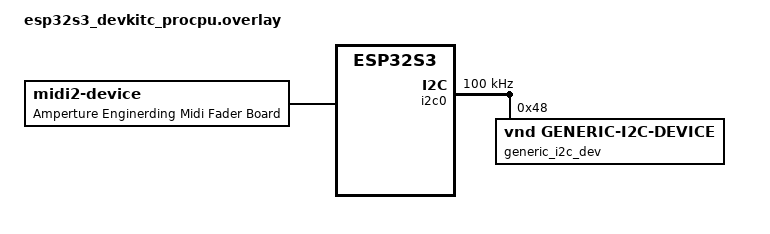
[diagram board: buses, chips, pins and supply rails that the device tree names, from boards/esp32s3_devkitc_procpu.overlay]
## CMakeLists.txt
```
cmake_minimum_required(VERSION 3.22.0)

find_package(Zephyr REQUIRED HINTS $ENV{ZEPHYR_BASE})

project(mideej)

target_sources(
  app
  PRIVATE
  src/main.c
  src/usb_setup.c
  src/midi_setup.c
  src/adc_setup.c
)

target_include_directories(app PRIVATE
  inc
  src
)
```

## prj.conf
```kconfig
CONFIG_USB_DEVICE_STACK_NEXT=y
# CONFIG_USBD_CDC_ACM_CLASS=y
# CONFIG_CDC_ACM_SERIAL_INITIALIZE_AT_BOOT=n
CONFIG_USBD_MIDI2_CLASS=y
CONFIG_I2C=y
CONFIG_MULTITHREADING=y

# Thread monitoring settings
# CONFIG_THREAD_NAME=y
# CONFIG_THREAD_ANALYZER=y
# CONFIG_THREAD_ANALYZER_AUTO=y
# CONFIG_THREAD_ANALYZER_AUTO_INTERVAL=5
```

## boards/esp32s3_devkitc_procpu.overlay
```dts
/ {
  mideej_midi: usb_midi {
    compatible = "zephyr,midi2-device";
    status = "okay";
    #address-cells = <1>;
    #size-cells = <1>;
    label = "Amperture Enginerding Midi Fader Board";
    midi_in_out@0{
      reg = <0 1>;
      protocol = "midi1-up-to-128b";
      label = "MIDI-IN-OUT";
    };
  };
};

// Add custom pins to "pinctrl" node
&pinctrl {
  //i2c bus 0 config
  i2c0_custom_pins: i2c0_custom_pins{
    group1 {
      pinmux = <I2C0_SDA_GPIO2>, <I2C0_SCL_GPIO1>;
      bias-pull-up;
      drive-open-drain;
      output-high;
    };
  };
};

&i2c0 {
    status = "okay";
    generic_i2c_dev: generic_dev@48 {
        compatible = "vnd,generic-i2c-device";
        reg = <0x48>;
    };
    clock-frequency = <I2C_BITRATE_STANDARD>;
    pinctrl-0 = <&i2c0_custom_pins>;
    pinctrl-names = "default";
};
```

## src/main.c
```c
#include <stdint.h>
#include <zephyr/sys/printk.h>

int main(void) {
  printk("Mideej is running...");
  return 0;
}
```

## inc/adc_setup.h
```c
#ifndef ADC_SETUP_H
#define ADC_SETUP_H
#include <stdint.h>

uint8_t adc_setup();
uint8_t adc_se_read_channel(uint8_t ch, uint8_t *p_value);
extern struct k_msgq adc_read_msgq;

#endif // ADC_SETUP_H
```

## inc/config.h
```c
#ifndef CONFIG_H
#define CONFIG_H

#define ADC_READ_TASK_STACK_SIZE 1024
#define ADC_READ_TASK_PRIORITY 3
#define ADC_PARSE_TASK_STACK_SIZE 1024
#define ADC_PARSE_TASK_PRIORITY 2
#define ADC_CHANNELS_USED 2, 3
#define ADC_DEADBAND 1

#define MIDI_SEND_TASK_STACK_SIZE 1024
#define MIDI_SEND_TASK_PRIORITY 1
#define MIDI_CONTROLLER 7

#define ARRAY_SIZE(arr) (sizeof(arr) / sizeof((arr)[0]))

#endif // CONFIG_H
```

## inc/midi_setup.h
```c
#ifndef MIDI_SETUP_H
#define MIDI_SETUP_H
#include "zephyr/kernel.h"
#include <stdint.h>
#include <zephyr/usb/class/usbd_midi2.h>

struct midi_ump construct_packet(uint8_t type, uint8_t group, uint8_t command,
                                 uint8_t channel, uint8_t controller,
                                 uint8_t value);

extern struct k_msgq midi_send_msgq;

const struct device *midi_setup(void);

struct midi_send_value {
  // Intended to be valid MIDI Channel
  uint8_t midi_channel;

  // Intended to be valid 7-bit MIDI CC data
  uint8_t midi_value;
};

#endif // MIDI_SETUP_H
```

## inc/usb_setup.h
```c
#ifndef USB_SETUP_H
#define USB_SETUP_H

#include <stdint.h>
#include <zephyr/kernel.h>

// Public Functions
uint8_t usb_setup(void);

extern struct k_mutex usb_mutex;

#endif // USB_SETUP_H
```

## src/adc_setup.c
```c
#include "adc_setup.h"
#include "config.h"
#include "midi_setup.h"
#include <stdint.h>
#include <stdlib.h>
#include <zephyr/drivers/i2c.h>
#include <zephyr/kernel.h>
#include <zephyr/sys/printk.h>

// https://www.ti.com/lit/ds/symlink/ads7830.pdf
// Table 2, page 14

// Currently using the ADS7830 in single-ended mode. Channel selection
// is a little wonky, but this rearranges the bits as necessary.
// Run it with an OR operation to bitmask against a command byte.
#define ADS7830_SE_CHANNEL_SELECT(x) (uint8_t)(((x & 1) << 2 | (x >> 1)) << 4)

#define ADS7830_SINGLE_ENDED_MODE (uint8_t)(1u << 7)
#define ADS7830_POWER_DOWN_INTREF_AND_ADC 0
#define ADS7830_POWER_DOWN_INTREF (uint8_t)(1u << 2)
#define ADS7830_POWER_DOWN_ADC (uint8_t)(2u << 2)

K_MUTEX_DEFINE(i2c0_mutex);

// Set up I2C device.
static const struct i2c_dt_spec ads7830 =
    I2C_DT_SPEC_GET(DT_NODELABEL(generic_i2c_dev));

uint8_t adc_se_read_channel(uint8_t ch, uint8_t *p_value) {
  uint8_t command_byte = ADS7830_SE_CHANNEL_SELECT(ch) |
                         ADS7830_SINGLE_ENDED_MODE |
                         ADS7830_POWER_DOWN_INTREF_AND_ADC;

  if (i2c_write_read_dt(&ads7830, &command_byte, 1, p_value, 1) != 0) {
    return 1;
  }
  return 0;
}

// Deliberately overengineered for now. Mutex technically not necessary since
// this task is the only one handling the ADC, but using the mutex anyway
// as a learning experience.
uint8_t adc_channels_list[] = {ADC_CHANNELS_USED};
struct adc_read_value {
  uint8_t index;
  uint8_t channel;
  uint8_t value;
};
K_MSGQ_DEFINE(adc_read_msgq, sizeof(struct adc_read_value), 64, 1);
void adc_read_thread(void *p1, void *p2, void *p3) {
  printk("ADC Read Thread Initializing\r\n");
  struct adc_read_value tx_packet;

  if (adc_setup() != 0) {
    printk("Failure to initialize ADC\r\n");
    return;
  }

  // Make sure the adc is set up
  while (1) {
    if (k_mutex_lock(&i2c0_mutex, K_FOREVER) == 0) {
      for (uint8_t i = 0; i < ARRAY_SIZE(adc_channels_list); i++) {
        tx_packet.index = i;
        tx_packet.channel = adc_channels_list[i];
        adc_se_read_channel(tx_packet.channel, &tx_packet.value);
        int ret = k_msgq_put(&adc_read_msgq, &tx_packet, K_NO_WAIT);
        if (ret != 0) {
          printk("ADC Raw Queue full.\r\n");
        }
      }
      k_mutex_unlock(&i2c0_mutex);
    }
    // K_NO_WAIT: if queue is full, skip or handle immediately
    // May not be needed, if the midi parse thread blocks and is higher
    // priority.
    k_sleep(K_MSEC(2));
  }
}
K_THREAD_DEFINE(adc_read_thread_id, ADC_READ_TASK_STACK_SIZE, adc_read_thread,
                NULL, NULL, NULL, ADC_READ_TASK_PRIORITY, 0, 0);

struct midi_channel_value {
  uint8_t channel;
  uint8_t value;
};
void adc_parse_thread(void *p1, void *p2, void *p3) {
  printk("ADC Parse Thread Initializing\r\n");
  struct adc_read_value rx_packet;
  static struct midi_send_value tx_packet;
  static struct midi_send_value last_sent[ARRAY_SIZE(adc_channels_list)];

  struct midi_channel_value held_values[ARRAY_SIZE(adc_channels_list)];

  // Initialize the last_sent_midi_values to 200
  for (uint8_t i = 0; i < ARRAY_SIZE(adc_channels_list); i++) {
    // valid MIDI CC 1.0 values only go from 0-127, if we set initial values
    // to something outside that range, we can guarantee the first
    // value read on startup gets sent. Hence initializing to 200

    held_values[i].channel = adc_channels_list[i];
    held_values[i].value = 200;
    last_sent[i].midi_channel = adc_channels_list[i];
    last_sent[i].midi_value = 200;
  }

  while (1) {
    // Attempt to clean up and send current values if the queue was full on
    // first send
    for (uint8_t i = 0; i < ARRAY_SIZE(adc_channels_list); i++) {
      if ((held_values[i].value >> 1) != last_sent[i].midi_value) {
        tx_packet.midi_value = held_values[i].value >> 1;
        tx_packet.midi_channel = held_values[i].channel;
        int ret = k_msgq_put(&midi_send_msgq, &tx_packet, K_NO_WAIT);
        if (ret == 0) {
          last_sent[i].midi_channel = tx_packet.midi_channel;
          last_sent[i].midi_value = tx_packet.midi_value;
        } else {
          printk("MIDI Send Packet Queue _STILL_ full.\r\n");
        }
      }
    };

    int ret = k_msgq_get(&adc_read_msgq, &rx_packet, K_FOREVER);
    if (ret == 0) {

      uint8_t current_val = held_values[rx_packet.index].value;

      // Apply a Deadband and Hysteresis
      if (rx_packet.value > current_val + ADC_DEADBAND) {
        held_values[rx_packet.index].value = rx_packet.value - ADC_DEADBAND;
        printk("New Value for Channel %d: %d\r\n", rx_packet.channel,
               rx_packet.value - ADC_DEADBAND);
      } else if (rx_packet.value < current_val - ADC_DEADBAND) {
        held_values[rx_packet.index].value = rx_packet.value + ADC_DEADBAND;
        printk("New Value for Channel %d: %d\r\n", rx_packet.channel,
               rx_packet.value + ADC_DEADBAND);
      }

      if ((held_values[rx_packet.index].value >> 1) !=
          last_sent[rx_packet.index].midi_value) {
        // Prepare to send TX Packet to USB thread.
        tx_packet.midi_value = held_values[rx_packet.index].value >> 1;
        tx_packet.midi_channel = held_values[rx_packet.index].channel;

        // Send TX thread to MIDI packet. If successful, record last_sent
        int ret = k_msgq_put(&midi_send_msgq, &tx_packet, K_NO_WAIT);
        if (ret == 0) {
          last_sent[rx_packet.index].midi_channel = tx_packet.midi_channel;
          last_sent[rx_packet.index].midi_value = tx_packet.midi_value;
        } else {
          printk("MIDI Send Packet Queue full.\r\n");
        }
      }
    };
    // May not be needed, if the midi parse thread blocks and is higher
    // priority. k_sleep(K_MSEC(1));
  }
}
K_THREAD_DEFINE(adc_parse_thread_id, ADC_PARSE_TASK_STACK_SIZE,
                adc_parse_thread, NULL, NULL, NULL, ADC_PARSE_TASK_PRIORITY, 0,
                0);

uint8_t adc_setup() {
  // Verify the hardware bus is ready
  printk("initializing adc\r\n");
  if (!i2c_is_ready_dt(&ads7830)) {
    printk("ADC is not ready\r\n");
    return 1;
  }
  return 0;
}
```

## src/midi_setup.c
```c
#include "midi_setup.h"
#include "config.h"
#include "syscalls/device.h"
#include "usb_setup.h"
#include <zephyr/kernel.h>
#include <zephyr/sys/printk.h>

struct midi_ump construct_packet(uint8_t type, uint8_t group, uint8_t command,
                                 uint8_t channel, uint8_t controller,
                                 uint8_t value) {
  struct midi_ump packet;
  packet.data[0] = (type << 28) | (group << 24) | (command << 20) |
                   (channel << 16) | (controller << 8) | (value);
  return packet;
}

const struct device *midi_setup(void) {

  // We need to grab the USB device so we can send packets thru it.
  const struct device *mideej_midi = DEVICE_DT_GET(DT_NODELABEL(mideej_midi));

  int midi_err = device_is_ready(mideej_midi);
  if (!midi_err) {
    printk("Device was not ready. Aboring.\r\n");
    return NULL;
  }
  return mideej_midi;
}

// The semaphore is also extremely overengineered here deliberately. It is not
// strictly needed, but used as an example of how a semaphore might be used
// to process new MIDI signals being ready to go out as sending out a MIDI CC
// signal is an "event".
// K_SEM_DEFINE(midi_send_sem, 0, 32);

// In reality the Message Queue is really all that's necessary here, and in fact
// the message queue acts as a semaphore with a data payload. Again, deliberate
// overengineering as a learning experience.
K_MSGQ_DEFINE(midi_send_msgq, sizeof(struct midi_send_value), 64, 1);

void midi_send_thread(void *p1, void *p2, void *p3) {
  printk("MIDI thread initializing\r\n");
  struct midi_send_value midi_rx_packet;

  // Initialize the USB Device here, since there's not another task to take
  // care of it. This will likely be moved or taken care of elsewhere if a
  // better init process is thought of.
  if (usb_setup() != 0) {
    printk("Something went wrong with USB setup!\r\n");
  }

  const struct device *mideej_midi = midi_setup();
  printk("MIDI device initialized\r\n");

  while (1) {
    printk("Attempting to pull from the MIDI msgq.\r\n");
    int ret = k_msgq_get(&midi_send_msgq, &midi_rx_packet, K_FOREVER);
    if (ret == 0) {
      printk("Valid message found, sending over USB now.\r\n");
      struct midi_ump ump_packet =
          construct_packet(2, 0, 0xB, midi_rx_packet.midi_channel,
                           MIDI_CONTROLLER, midi_rx_packet.midi_value);
      if (k_mutex_lock(&usb_mutex, K_FOREVER) == 0) {
        int usbd_ret = usbd_midi_send(mideej_midi, ump_packet);
        if (usbd_ret != 0) {
          printk("USB MIDI packet unsuccessful\r\n");
        }
        k_mutex_unlock(&usb_mutex);
      }
    };
    // sleeping may not be needed
    // k_sleep(K_MSEC(1));
  }
}
K_THREAD_DEFINE(midi_send_thread_id, MIDI_SEND_TASK_STACK_SIZE,
                midi_send_thread, NULL, NULL, NULL, MIDI_SEND_TASK_PRIORITY, 0,
                0);
```

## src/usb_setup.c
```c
#include "usb_setup.h"
#include <zephyr/kernel.h>
#include <zephyr/sys/printk.h>
#include <zephyr/usb/usbd.h>

K_MUTEX_DEFINE(usb_mutex);

/* This line creates a usbd_context struct, no enumeration is happening as of
 * yet.
 *
 * `mideej_ctx` is the struct's name which will be used later to
 *   reference
 *
 * the second input is the actual binding, zephyr_udc0 is the devicetree label
 *   for usb_otg, note that we are getting the nodelabel from devicetree
 *
 * the last two are the VID and PID
 */
// TODO: Get my own VID and PID from pid.codes
USBD_DEVICE_DEFINE(mideej_ctx, DEVICE_DT_GET(DT_NODELABEL(zephyr_udc0)), 0x2fe3,
                   0x0001);

/* we're still not enumerating devices yet, but these lines define a few things
 * for the device.
 *
 * These are ways for the device to "describe" itself to the host machine
 *
 * the first line defines the language the device speaks, as in literal
 * human-spoken language, at the time of writing, the macro has no options
 * as the only language supported is US English
 *
 * the second line defines the manufacturer, which we're making up
 *
 * the third line defines the product name, which we're also making up
 *
 * the fourth line will be used later, and is describing the configuration
 * to the host
 */
USBD_DESC_LANG_DEFINE(mideej_desc_lang);
USBD_DESC_MANUFACTURER_DEFINE(mideej_desc_mfr, "Amperture Enginerding");
USBD_DESC_PRODUCT_DEFINE(mideej_desc_product, "mideej");
USBD_DESC_CONFIG_DEFINE(mideej_desc_cfg, "Full-Speed Configuration");

/* this line sets up some configuration details
 *
 * First input is just the usbd_context struct's name
 *
 * The second input is a bitmask of attributes, for the time being we're lying
 * and saying the board is powering itself thru perhaps a battery, I assume
 * we'll learn about which attributes we have an option for later.
 *
 * The third input is our requested power draw from the USB host. Assume
 * that you are requesting 2 miliamps times the number you're inputting, so
 * to get 10mA you want to put in 5.
 *
 */
// USBD_CONFIGURATION_DEFINE(mideej_cfg, USB_SCD_SELF_POWERED, 100,
// &mideej_desc_cfg);
USBD_CONFIGURATION_DEFINE(mideej_cfg, 0, 100, &mideej_desc_cfg);

uint8_t usb_setup(void) {
  /* Here is where we actually start instantiating a device
   * we use the config and descriptors defined above and construct our USB
   * device, but we still haven't spoken to the host yet.
   *
   * Order matters: langauge, manufacturer, product
   */
  usbd_add_descriptor(&mideej_ctx, &mideej_desc_lang);
  usbd_add_descriptor(&mideej_ctx, &mideej_desc_mfr);
  usbd_add_descriptor(&mideej_ctx, &mideej_desc_product);
  // usbd_add_descriptor(&mideej_ctx, &mideej_desc_cfg);

  /* Now we add the configuration to the context.
   * Still not speaking to the host.
   */
  if (usbd_add_configuration(&mideej_ctx, USBD_SPEED_FS, &mideej_cfg) != 0) {
    printk("Failed to add configuration.\r\n");
    return 1;
  }

  /* Now we add the device class info
   */
  if (usbd_register_class(&mideej_ctx, "midi_0", USBD_SPEED_FS, 1) != 0) {
    printk("Failed to register USB class.\r\n");
    return 1;
  }

  /* set up the Class, Subclass, and Protocol
   * for our case this is "Miscellaneous", 0x02 is "Common Class", 0x01 is "IAD"
   */
  /*
  usbd_device_set_code_triple(&mideej_ctx, USBD_SPEED_FS, USB_BCC_MISCELLANEOUS,
                              0x02, 0x01);
  */

  /* USB MIDI Descriptor Codes
   * Base Class (bInterfaceClass): 0x01 (Audio Device Class)
   * SubClass (bInterfaceSubClass): 0x03 (MIDI Streaming)
   * Protocol (bInterfaceProtocol): 0x00 (Standard/Unspecified Audio Protocol)
   */
  usbd_device_set_code_triple(&mideej_ctx, USBD_SPEED_FS, USB_BCC_MISCELLANEOUS,
                              0x02, 0x01);

  // Final conglomeration of the configurations
  if (usbd_init(&mideej_ctx) != 0) {
    printk("USB INIT FAIL\r\n");
    return 1;
  }

  // Now let's talk to the host machine and tell it we're a USB device to
  // instantiate
  if (usbd_enable(&mideej_ctx) != 0) {
    printk("USB ENABLE FAIL\r\n");
    return 1;
  }

  // if everything goes well, we can return 0 and be confident that things
  // have worked
  return 0;
}
```
